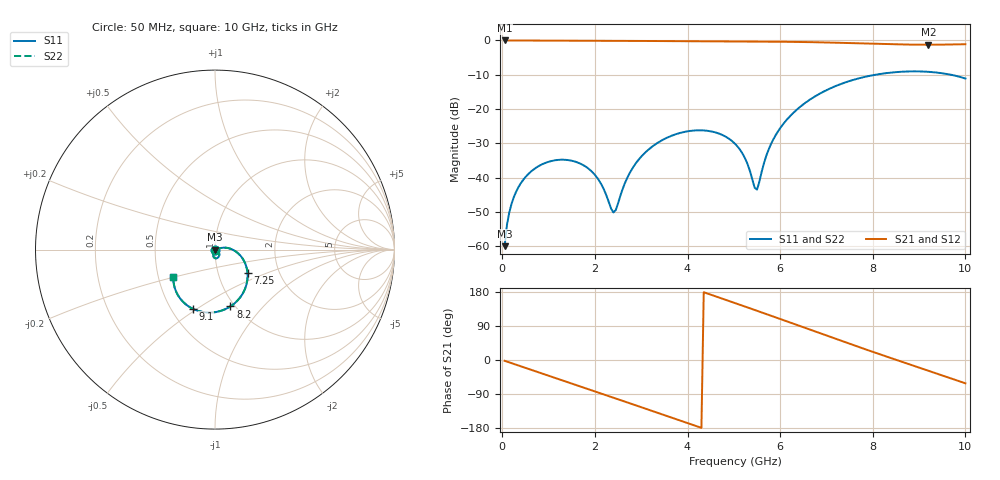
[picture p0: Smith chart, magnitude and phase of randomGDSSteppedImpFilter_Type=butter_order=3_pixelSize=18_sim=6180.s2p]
! freq	dB(S11)	phase(S11)	dB(S12)	phase(S12)
!  dB(S21)	phase(S21)	dB(S22)	phase(S22)
!S-par simulation data
#  GHz  S  DB  R 50
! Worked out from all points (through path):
!   200 points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, 50 MHz to 10 GHz, reference 50 ohm
!   highest |S21| = 0.00 dB at 50 MHz (marker M1); lowest = -1.2 dB at 9.2 GHz (marker M2)
!   group delay of S21, straight-line fit = 118 ps
!   lowest |S11| = -59.9 dB at 50 MHz (marker M3), VSWR 1.00, Z = 50 - j0.101 ohm
!   |S11| at or under -10 dB: start of sweep to 8.054 GHz; 9.691 GHz to end of sweep
!   |S22| runs from -59.9 to -9.0 dB; largest |S21 - S12| = 0
!   S11 on the Smith chart (normalised r, x): 50 MHz: 1.00, -0.00; 7.25 GHz: 1.38, -0.38; 8.2 GHz: 0.95, -0.68; 9.1 GHz: 0.64, -0.48; 10 GHz: 0.60, -0.20
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0.05  -59.94 -90.6  -0.00 -2.1  -0.00 -2.1  -59.94 -90.6
0.1  -53.80 -95.1  -0.01 -4.2  -0.01 -4.2  -53.80 -95.1
0.2  -47.59 -100.5  -0.02 -8.4  -0.02 -8.4  -47.59 -100.5
0.55  -39.08 -115.1  -0.03 -22.8  -0.03 -22.8  -39.08 -115.1
1.15  -34.89 -141.4  -0.05 -47.7  -0.05 -47.7  -34.89 -141.4
1.75  -36.34 -170.8  -0.08 -72.5  -0.08 -72.5  -36.35 -170.6
2.1  -41.03 165.1  -0.09 -87.0  -0.09 -87.0  -41.04 165.5
2.4  -50.11 86.4  -0.11 -99.5  -0.11 -99.5  -50.31 86.6
2.85  -36.44 -14.7  -0.14 -118.2  -0.14 -118.2  -36.45 -15.1
3.4  -29.45 -44.3  -0.17 -141.2  -0.17 -141.2  -29.46 -44.5
4.3  -26.19 -82.7  -0.25 -179.1  -0.25 -179.1  -26.19 -82.8
5.05  -30.46 -108.3  -0.30 149.2  -0.30 149.2  -30.46 -108.6
5.5  -43.46 -38.0  -0.33 129.9  -0.33 129.9  -43.57 -37.8
5.7  -33.64 13.4  -0.35 121.3  -0.35 121.3  -33.65 13.6
5.9  -27.67 14.2  -0.36 112.6  -0.36 112.6  -27.68 14.3
6.7  -16.74 -13.4  -0.50 77.7  -0.50 77.7  -16.74 -13.4
7.25  -13.01 -35.9  -0.67 53.6  -0.67 53.6  -13.01 -36.0
8.2  -9.69 -74.8  -1.04 13.1  -1.04 13.1  -9.69 -74.9
8.35  -9.43 -80.8  -1.09 6.8  -1.09 6.8  -9.43 -80.9
9.1  -9.07 -110.5  -1.24 -24.0  -1.24 -24.0  -9.07 -110.6
9.2  -9.14 -114.4  -1.24 -28.1  -1.24 -28.1  -9.14 -114.5
10  -11.11 -146.2  -1.09 -61.5  -1.09 -61.5  -11.10 -146.3
